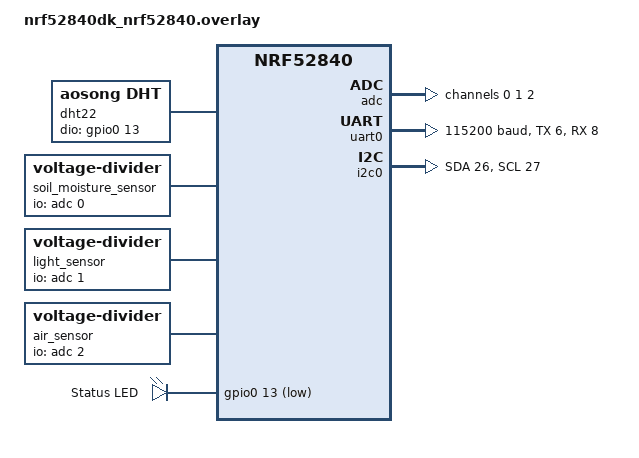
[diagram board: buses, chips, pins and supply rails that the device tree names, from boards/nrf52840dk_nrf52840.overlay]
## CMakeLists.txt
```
cmake_minimum_required(VERSION 3.20.0)

find_package(Zephyr REQUIRED HINTS $ENV{ZEPHYR_BASE})
project(grow)

# Platform-specific source files
if(CONFIG_SOC_ESP32S3 OR CONFIG_SOC_ESP32C6)
  set(PLATFORM_DIR "platform/esp32")
elseif(CONFIG_SOC_NRF52840)
  set(PLATFORM_DIR "platform/nrf52")
else()
  message(FATAL_ERROR "Unsupported platform")
endif()

# Common sources
set(COMMON_SOURCES
  src/main.c
  src/ble.c
  src/storage.c
  src/serial_number.c
  src/common/ml_analysis.c
  src/common/habitat_data.c
  src/common/plant_analysis.c
)

# Platform-specific sources
set(PLATFORM_SOURCES
  src/${PLATFORM_DIR}/sensors.c
  src/${PLATFORM_DIR}/connectivity.c
  src/${PLATFORM_DIR}/tflite_platform.c
)

# Add TensorFlow Lite sources based on platform
if(CONFIG_SOC_ESP32S3 OR CONFIG_SOC_ESP32C6)
  list(APPEND PLATFORM_SOURCES src/${PLATFORM_DIR}/firebase.c)
endif()

# Include directories
zephyr_include_directories(
  src
  src/common
  src/${PLATFORM_DIR}
)

# Target sources
target_sources(app PRIVATE
  ${COMMON_SOURCES}
  ${PLATFORM_SOURCES}
)
```

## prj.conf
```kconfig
# General config
CONFIG_MAIN_STACK_SIZE=4096
CONFIG_HEAP_MEM_POOL_SIZE=4096
CONFIG_LOG=y
CONFIG_PRINTK=y

# GPIO
CONFIG_GPIO=y
CONFIG_ADC=y

# Network
CONFIG_NETWORKING=y
CONFIG_NET_IPV4=y
CONFIG_NET_TCP=y
CONFIG_NET_SOCKETS=y
CONFIG_NET_SOCKETS_POSIX_NAMES=y

# Flash storage
CONFIG_FLASH=y
CONFIG_FLASH_MAP=y
CONFIG_NVS=y
CONFIG_SETTINGS=y
CONFIG_SETTINGS_NVS=y

# Bluetooth
CONFIG_BT=y
CONFIG_BT_PERIPHERAL=y
CONFIG_BT_DEVICE_NAME="Grow"
CONFIG_BT_DEVICE_APPEARANCE=0
CONFIG_BT_MAX_CONN=1
CONFIG_BT_GATT_DYNAMIC_DB=y

# Sensors
CONFIG_SENSOR=y
CONFIG_DHT=y

# JSON
CONFIG_JSON_LIBRARY=y

# HTTP client for habitat data and Firebase
CONFIG_NET_SOCKETS_POSIX_NAMES=y
CONFIG_NET_HTTP=y
CONFIG_NET_HTTP_CLIENT=y

# Time
CONFIG_POSIX_TIMERS=y
CONFIG_DATE_TIME=y

# Entropy
CONFIG_ENTROPY_GENERATOR=y

# TensorFlow Lite Micro
CONFIG_TFLITE_MICRO=y
CONFIG_CPP=y

# Include platform-specific configuration
# This will be handled in CMake based on the target board
```

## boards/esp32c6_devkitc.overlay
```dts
/*
 * ESP32C6 DevKitC board overlay for Grow plant monitor
 */

/ {
    chosen {
        zephyr,console = &uart0;
        zephyr,shell-uart = &uart0;
        zephyr,sram = &sram0;
        zephyr,flash = &flash0;
    };
    
    /* DHT22 Sensor */
    dht22: dht22 {
        compatible = "aosong,dht";
        status = "okay";
        dio-gpios = <&gpio0 21 GPIO_ACTIVE_HIGH>;
        dht22;
    };
    
    /* Soil Moisture Sensor */
    soil_moisture_sensor: soil_moisture_sensor {
        compatible = "voltage-divider";
        io-channels = <&adc1 0>;
        status = "okay";
    };
    
    /* Light Sensor */
    light_sensor: light_sensor {
        compatible = "voltage-divider";
        io-channels = <&adc1 1>;
        status = "okay";
    };
    
    /* Air Movement Sensor */
    air_sensor: air_sensor {
        compatible = "voltage-divider";
        io-channels = <&adc1 2>;
        status = "okay";
    };
};

&wifi {
    status = "okay";
};

&uart0 {
    status = "okay";
    current-speed = <115200>;
};

&gpio0 {
    status = "okay";
};

&adc1 {
    status = "okay";
    #address-cells = <1>;
    #size-cells = <0>;
    
    /* Soil moisture ADC channel */
    channel@0 {
        reg = <0>;
        zephyr,gain = "ADC_GAIN_1";
        zephyr,reference = "ADC_REF_INTERNAL";
        zephyr,acquisition-time = <ADC_ACQ_TIME_DEFAULT>;
        zephyr,resolution = <12>;
    };
    
    /* Light level ADC channel */
    channel@1 {
        reg = <1>;
        zephyr,gain = "ADC_GAIN_1";
        zephyr,reference = "ADC_REF_INTERNAL";
        zephyr,acquisition-time = <ADC_ACQ_TIME_DEFAULT>;
        zephyr,resolution = <12>;
    };
    
    /* Air movement ADC channel */
    channel@2 {
        reg = <2>;
        zephyr,gain = "ADC_GAIN_1";
        zephyr,reference = "ADC_REF_INTERNAL";
        zephyr,acquisition-time = <ADC_ACQ_TIME_DEFAULT>;
        zephyr,resolution = <12>;
    };
};

/* Enable flash for storage */
&flash0 {
    status = "okay";
    partitions {
        compatible = "fixed-partitions";
        #address-cells = <1>;
        #size-cells = <1>;
        
        /* Storage partition for NVS */
        storage_partition: partition@1a0000 {
            label = "storage";
            reg = <0x1a0000 0x20000>;
        };
        
        /* Partition for TensorFlow Lite model */
        tflite_partition: partition@1c0000 {
            label = "tflite";
            reg = <0x1c0000 0x40000>;
        };
    };
};
```

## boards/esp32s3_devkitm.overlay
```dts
/*
 * ESP32S3 DevkitM board overlay for GrowSense
 */

/ {
    chosen {
        zephyr,console = &uart0;
        zephyr,shell-uart = &uart0;
        zephyr,sram = &sram0;
        zephyr,flash = &flash0;
    };
    
    /* DHT22 Sensor */
    dht22: dht22 {
        compatible = "aosong,dht";
        status = "okay";
        dio-gpios = <&gpio0 21 GPIO_ACTIVE_HIGH>;
        dht22;
    };
    
    /* Soil Moisture Sensor */
    soil_moisture_sensor: soil_moisture_sensor {
        compatible = "voltage-divider";
        io-channels = <&adc1 0>;
        status = "okay";
    };
    
    /* Light Sensor */
    light_sensor: light_sensor {
        compatible = "voltage-divider";
        io-channels = <&adc1 1>;
        status = "okay";
    };
    
    /* Air Movement Sensor */
    air_sensor: air_sensor {
        compatible = "voltage-divider";
        io-channels = <&adc1 2>;
        status = "okay";
    };
};

&wifi {
    status = "okay";
};

&uart0 {
    status = "okay";
    current-speed = <115200>;
};

&gpio0 {
    status = "okay";
};

&adc1 {
    status = "okay";
    #address-cells = <1>;
    #size-cells = <0>;
    
    /* Soil moisture ADC channel */
    channel@0 {
        reg = <0>;
        zephyr,gain = "ADC_GAIN_1";
        zephyr,reference = "ADC_REF_INTERNAL";
        zephyr,acquisition-time = <ADC_ACQ_TIME_DEFAULT>;
        zephyr,resolution = <12>;
    };
    
    /* Light level ADC channel */
    channel@1 {
        reg = <1>;
        zephyr,gain = "ADC_GAIN_1";
        zephyr,reference = "ADC_REF_INTERNAL";
        zephyr,acquisition-time = <ADC_ACQ_TIME_DEFAULT>;
        zephyr,resolution = <12>;
    };
    
    /* Air movement ADC channel */
    channel@2 {
        reg = <2>;
        zephyr,gain = "ADC_GAIN_1";
        zephyr,reference = "ADC_REF_INTERNAL";
        zephyr,acquisition-time = <ADC_ACQ_TIME_DEFAULT>;
        zephyr,resolution = <12>;
    };
};

/* Enable flash for storage */
&flash0 {
    status = "okay";
    partitions {
        compatible = "fixed-partitions";
        #address-cells = <1>;
        #size-cells = <1>;
        
        /* Storage partition for NVS */
        storage_partition: partition@1a0000 {
            label = "storage";
            reg = <0x1a0000 0x20000>;
        };
    };
};
```

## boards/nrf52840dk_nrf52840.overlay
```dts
/*
 * nRF52840 DK board overlay for Grow plant monitor
 */

/ {
    chosen {
        zephyr,console = &uart0;
        zephyr,shell-uart = &uart0;
        zephyr,sram = &sram0;
        zephyr,flash = &flash0;
        zephyr,code-partition = &slot0_partition;
    };
    
    /* DHT22 Sensor */
    dht22: dht22 {
        compatible = "aosong,dht";
        status = "okay";
        dio-gpios = <&gpio0 13 GPIO_ACTIVE_HIGH>;
        dht22;
    };
    
    /* Soil Moisture Sensor */
    soil_moisture_sensor: soil_moisture_sensor {
        compatible = "voltage-divider";
        io-channels = <&adc 0>;
        status = "okay";
    };
    
    /* Light Sensor */
    light_sensor: light_sensor {
        compatible = "voltage-divider";
        io-channels = <&adc 1>;
        status = "okay";
    };
    
    /* Air Movement Sensor */
    air_sensor: air_sensor {
        compatible = "voltage-divider";
        io-channels = <&adc 2>;
        status = "okay";
    };

    leds {
        compatible = "gpio-leds";
        status_led: led_0 {
            gpios = <&gpio0 13 GPIO_ACTIVE_LOW>;
            label = "Status LED";
        };
    };
};

&adc {
    status = "okay";
    #address-cells = <1>;
    #size-cells = <0>;
    
    /* Soil moisture ADC channel */
    channel@0 {
        reg = <0>;
        zephyr,gain = "ADC_GAIN_1_6";
        zephyr,reference = "ADC_REF_INTERNAL";
        zephyr,acquisition-time = <ADC_ACQ_TIME_DEFAULT>;
        zephyr,input-positive = <NRF_SAADC_AIN0>;
        zephyr,resolution = <12>;
    };
    
    /* Light level ADC channel */
    channel@1 {
        reg = <1>;
        zephyr,gain = "ADC_GAIN_1_6";
        zephyr,reference = "ADC_REF_INTERNAL";
        zephyr,acquisition-time = <ADC_ACQ_TIME_DEFAULT>;
        zephyr,input-positive = <NRF_SAADC_AIN1>;
        zephyr,resolution = <12>;
    };
    
    /* Air movement ADC channel */
    channel@2 {
        reg = <2>;
        zephyr,gain = "ADC_GAIN_1_6";
        zephyr,reference = "ADC_REF_INTERNAL";
        zephyr,acquisition-time = <ADC_ACQ_TIME_DEFAULT>;
        zephyr,input-positive = <NRF_SAADC_AIN2>;
        zephyr,resolution = <12>;
    };
};

&flash0 {
    partitions {
        compatible = "fixed-partitions";
        #address-cells = <1>;
        #size-cells = <1>;
        
        boot_partition: partition@0 {
            label = "mcuboot";
            reg = <0x00000000 0x00010000>;
        };
        slot0_partition: partition@10000 {
            label = "image-0";
            reg = <0x00010000 0x00080000>;
        };
        slot1_partition: partition@90000 {
            label = "image-1";
            reg = <0x00090000 0x00080000>;
        };
        storage_partition: partition@110000 {
            label = "storage";
            reg = <0x00110000 0x00008000>;
        };
        tflite_partition: partition@118000 {
            label = "tflite";
            reg = <0x00118000 0x00020000>;
        };
    };
};

&gpio0 {
    status = "okay";
};

&uart0 {
    status = "okay";
    current-speed = <115200>;
    tx-pin = <6>;
    rx-pin = <8>;
    rts-pin = <5>;
    cts-pin = <7>;
};

&i2c0 {
    compatible = "nordic,nrf-twi";
    status = "okay";
    sda-pin = <26>;
    scl-pin = <27>;
};
```

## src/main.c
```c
#include <zephyr/kernel.h>
#include <zephyr/logging/log.h>

#include "ble.h"
#include "sensors.h"
#include "connectivity.h"
#include "firebase.h"
#include "storage.h"
#include "serial_number.h"
#include "data_cache.h"
#include "button_handler.h"
#include "common/ml_analysis.h"
#include "common/habitat_data.h"
#include "common/plant_analysis.h"
#include "common/water_analysis.h"

LOG_MODULE_REGISTER(main, CONFIG_LOG_DEFAULT_LEVEL);

/* Sensor reading interval (60 seconds) */
#define SENSOR_READ_INTERVAL K_SECONDS(60)

/* Define work item for sensor reading */
static struct k_work_delayable sensor_work;

/* Device information structure */
struct device_info {
    char serial_number[33];
    char plant_name[64];
    char plant_variety[64];
    bool provisioned;
};

static struct device_info dev_info;

/* Sensor data structure */
struct sensor_data {
    float soil_moisture;
    float light_level;
    float temperature;
    float humidity;
    float air_movement;
    int64_t timestamp;
};

static struct sensor_data current_sensor_data;

/* ML analysis result */
static struct ml_analysis_result ml_result;

/* Forward declarations */
static void sensor_work_handler(struct k_work *work);

void main(void)
{
    int ret;
    
    LOG_INF("Grow plant monitor starting...");
    
    /* Initialize storage subsystem */
    ret = storage_init();
    if (ret < 0) {
        LOG_ERR("Failed to initialize storage: %d", ret);
        return;
    }
    
    /* Initialize serial number */
    ret = serial_number_init(dev_info.serial_number, sizeof(dev_info.serial_number));
    if (ret < 0) {
        LOG_ERR("Failed to initialize serial number: %d", ret);
        return;
    }
    LOG_INF("Device serial number: %s", dev_info.serial_number);
    
    /* Load device configuration */
    ret = storage_load_device_config(dev_info.plant_name, sizeof(dev_info.plant_name),
                                    dev_info.plant_variety, sizeof(dev_info.plant_variety),
                                    &dev_info.provisioned);
    
    /* Initialize sensors */
    ret = sensors_init();
    if (ret < 0) {
        LOG_ERR("Failed to initialize sensors: %d", ret);
        return;
    }
    
    /* Initialize connectivity */
    ret = connectivity_init();
    if (ret < 0) {
        LOG_ERR("Failed to initialize connectivity: %d", ret);
        return;
    }
    
    /* Initialize button handler */
    ret = button_handler_init();
    if (ret < 0) {
        LOG_ERR("Failed to initialize button handler: %d", ret);
    }
    
    /* Initialize data cache */
    ret = data_cache_init();
    if (ret < 0) {
        LOG_ERR("Failed to initialize data cache: %d", ret);
    }
    
    /* Load cached data if any */
    ret = data_cache_load(dev_info.serial_number);
    if (ret < 0) {
        LOG_WRN("Failed to load cached data: %d", ret);
    }
    
    /* Initialize water analysis */
    ret = water_analysis_init();
    if (ret < 0) {
        LOG_ERR("Failed to initialize water analysis: %d", ret);
    }
    
    /* Load water analysis data if any */
    ret = water_analysis_load(dev_info.serial_number);
    if (ret < 0) {
        LOG_WRN("Failed to load water analysis data: %d", ret);
    }
    
    /* Initialize plant analysis subsystem */
    ret = plant_analysis_init();
    if (ret < 0) {
        LOG_ERR("Failed to initialize plant analysis: %d", ret);
        return;
    }
    
    /* Initialize BLE for provisioning */
    ret = ble_init(&dev_info.provisioned);
    if (ret < 0) {
        LOG_ERR("Failed to initialize BLE: %d", ret);
        return;
    }
    
    /* Setup sensor work */
    k_work_init_delayable(&sensor_work, sensor_work_handler);
    
    /* If already provisioned, connect to WiFi */
    if (dev_info.provisioned) {
        LOG_INF("Device already provisioned, connecting to network...");
        ret = connectivity_connect();
        if (ret < 0) {
            LOG_ERR("Failed to connect to network: %d", ret);
        }
    } else {
        LOG_INF("Device not provisioned, waiting for BLE provisioning...");
    }
    
    /* Start sensor readings */
    k_work_schedule(&sensor_work, K_NO_WAIT);
    
    /* Main loop */
    while (1) {
        k_sleep(K_FOREVER);
    }
}

/* Handler for sensor readings */
static void sensor_work_handler(struct k_work *work)
{
    int ret;
    struct water_consumption_pattern water_pattern;
    char plant_status[32];
    char mismatch_str[64] = {0};
    
    /* Read sensor data */
    ret = sensors_read(&current_sensor_data.soil_moisture,
                      &current_sensor_data.light_level,
                      &current_sensor_data.temperature,
                      &current_sensor_data.humidity,
                      &current_sensor_data.air_movement);
    
    if (ret < 0) {
        LOG_ERR("Failed to read sensors: %d", ret);
    } else {
        LOG_INF("Sensor readings - Moisture: %.2f%%, Light: %.2f%%, Temp: %.2f°C, Humidity: %.2f%%, Air: %.2f",
               current_sensor_data.soil_moisture,
               current_sensor_data.light_level,
               current_sensor_data.temperature,
               current_sensor_data.humidity,
               current_sensor_data.air_movement);
        
        /* Get current timestamp */
        current_sensor_data.timestamp = k_uptime_get() / 1000;
        
        /* If device is provisioned, perform analysis and send data */
        if (dev_info.provisioned) {
            /* Perform plant analysis */
            ret = plant_analysis_process_reading(
                dev_info.serial_number,
                dev_info.plant_name,
                dev_info.plant_variety,
                current_sensor_data.soil_moisture,
                current_sensor_data.light_level,
                current_sensor_data.temperature,
                current_sensor_data.humidity,
                current_sensor_data.air_movement,
                &ml_result
            );
            
            if (ret < 0) {
                LOG_ERR("Failed to analyze plant health: %d", ret);
            } else {
                LOG_INF("Plant health: %d (Confidence: %.2f)",
                       ml_result.health_status, ml_result.confidence);
                
                /* Get mismatch and status strings */
                plant_analysis_get_mismatch_string(&ml_result, mismatch_str, sizeof(mismatch_str));
                plant_analysis_get_status_string(&ml_result, plant_status, sizeof(plant_status));
                
                /* Update water analysis with new moisture reading */
                water_analysis_add_reading(current_sensor_data.soil_moisture, 
                                         current_sensor_data.timestamp);
                
                /* Analyze water consumption pattern */
                water_analysis_predict_watering(&water_pattern, 
                                              current_sensor_data.soil_moisture, 
                                              30.0f);  /* 30% threshold for watering */
                
                /* Save water analysis data */
                water_analysis_save(dev_info.serial_number);
                
                /* If connected, send data to Firebase */
                if (connectivity_is_connected()) {
                    /* First, try to send any cached data */
                    int cache_count = data_cache_count();
                    if (cache_count > 0) {
                        LOG_INF("Sending %d cached readings to Firebase", cache_count);
                        bool all_sent = true;
                        
                        for (int i = 0; i < cache_count; i++) {
                            struct cached_sensor_reading cached_reading;
                            
                            ret = data_cache_get_reading(i, &cached_reading);
                            if (ret == 0) {
                                ret = firebase_send_sensor_data(
                                    dev_info.serial_number,
                                    cached_reading.soil_moisture,
                                    cached_reading.light_level,
                                    cached_reading.temperature,
                                    cached_reading.humidity,
                                    cached_reading.air_movement,
                                    cached_reading.timestamp,
                                    dev_info.plant_name,
                                    dev_info.plant_variety,
                                    cached_reading.health_status,
                                    cached_reading.env_mismatch,
                                    ml_result.recommendation,
                                    cached_reading.plant_status
                                );
                                
                                if (ret < 0) {
                                    LOG_ERR("Failed to send cached data to Firebase: %d", ret);
                                    all_sent = false;
                                    break;
                                }
                            }
                        }
                        
                        if (all_sent) {
                            /* Successfully sent all cached data */
                            data_cache_clear();
                            data_cache_save(dev_info.serial_number);
                            LOG_INF("All cached data sent and cache cleared");
                        }
                    }
                    
                    /* Send current data */
                    ret = firebase_send_sensor_data(
                        dev_info.serial_number,
                        current_sensor_data.soil_moisture,
                        current_sensor_data.light_level,
                        current_sensor_data.temperature,
                        current_sensor_data.humidity,
                        current_sensor_data.air_movement,
                        current_sensor_data.timestamp,
                        dev_info.plant_name,
                        dev_info.plant_variety,
                        ml_result.health_status,
                        mismatch_str,
                        ml_result.recommendation,
                        plant_status
                    );
                    
                    if (ret < 0) {
                        LOG_ERR("Failed to send data to Firebase: %d", ret);
                    }
                    
                    /* Send water prediction data if confidence is high enough */
                    if (water_pattern.prediction_confidence > 30.0f) {
                        ret = firebase_send_water_prediction(
                            dev_info.serial_number,
                            water_pattern.daily_consumption_rate,
                            water_pattern.next_watering_timestamp,
                            water_pattern.prediction_confidence
                        );
                        
                        if (ret < 0) {
                            LOG_ERR("Failed to send water prediction to Firebase: %d", ret);
                        } else {
                            LOG_INF("Water prediction sent: next watering in %.1f hours",
                                  (water_pattern.next_watering_timestamp - current_sensor_data.timestamp) / 3600.0f);
                        }
                    }
                } else {
                    /* Offline - cache the data */
                    LOG_INF("Device offline, caching sensor reading");
                    ret = data_cache_add_reading(
                        current_sensor_data.soil_moisture,
                        current_sensor_data.light_level,
                        current_sensor_data.temperature,
                        current_sensor_data.humidity,
                        current_sensor_data.air_movement,
                        current_sensor_data.timestamp,
                        ml_result.health_status,
                        mismatch_str,
                        plant_status
                    );
                    
                    if (ret < 0) {
                        LOG_ERR("Failed to cache sensor data: %d", ret);
                    } else {
                        /* Save cache to persistent storage */
                        data_cache_save(dev_info.serial_number);
                        LOG_INF("Sensor data cached successfully");
                    }
                }
            }
        }
    }
    
    /* Check for button press requests */
    if (button_reset_requested()) {
        LOG_INF("Processing soft reset request");
        button_clear_requests();
        sys_reboot(SYS_REBOOT_WARM);
    } else if (button_factory_reset_requested()) {
        LOG_INF("Processing factory reset request");
        button_clear_requests();
        
        /* Clear all data */
        storage_reset_device_config();
        
        /* Reboot */
        sys_reboot(SYS_REBOOT_COLD);
    }
    
    /* Schedule next sensor reading */
    k_work_schedule(&sensor_work, SENSOR_READ_INTERVAL);
}

/* Callback for connectivity status */
void connectivity_status_callback(bool connected)
{
    if (connected) {
        LOG_INF("Network connected");
        
        /* Initialize Firebase */
        int ret = firebase_init();
        if (ret < 0) {
            LOG_ERR("Failed to initialize Firebase: %d", ret);
        }
        
        /* Trigger immediate sensor reading to send data */
        k_work_reschedule(&sensor_work, K_NO_WAIT);
    } else {
        LOG_INF("Network disconnected");
    }
}

/* Callback for provisioning */
void provisioning_complete_callback(const char *wifi_ssid, const char *wifi_password,
                                   const char *plant_name, const char *plant_variety)
{
    LOG_INF("Provisioning complete - SSID: %s, Plant: %s, Variety: %s",
           wifi_ssid, plant_name, plant_variety);
    
    /* Save device configuration */
    int ret = storage_save_device_config(wifi_ssid, wifi_password, 
                                       plant_name, plant_variety);
    if (ret < 0) {
        LOG_ERR("Failed to save device configuration: %d", ret);
        return;
    }
    
    /* Update local info */
    strncpy(dev_info.plant_name, plant_name, sizeof(dev_info.plant_name) - 1);
    strncpy(dev_info.plant_variety, plant_variety, sizeof(dev_info.plant_variety) - 1);
    dev_info.provisioned = true;
    
    /* Connect to network */
    ret = connectivity_connect();
    if (ret < 0) {
        LOG_ERR("Failed to connect to network: %d", ret);
    }
}
```

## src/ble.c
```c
#include <zephyr/kernel.h>
#include <zephyr/bluetooth/bluetooth.h>
#include <zephyr/bluetooth/hci.h>
#include <zephyr/bluetooth/conn.h>
#include <zephyr/bluetooth/uuid.h>
#include <zephyr/bluetooth/gatt.h>
#include <zephyr/logging/log.h>
#include <stdbool.h>
#include <string.h>

#include "ble.h"
#include "serial_number.h"

LOG_MODULE_REGISTER(ble, CONFIG_LOG_DEFAULT_LEVEL);

/* Define UUIDs for our custom service and characteristics */
#define GROW_SERVICE_UUID \
    BT_UUID_128_ENCODE(0x12345678, 0x1234, 0x5678, 0x1234, 0x56789abcdef0)
    
#define WIFI_SSID_CHAR_UUID \
    BT_UUID_128_ENCODE(0x12345678, 0x1234, 0x5678, 0x1234, 0x56789abcdef1)
    
#define WIFI_PASSWORD_CHAR_UUID \
    BT_UUID_128_ENCODE(0x12345678, 0x1234, 0x5678, 0x1234, 0x56789abcdef2)
    
#define PLANT_NAME_CHAR_UUID \
    BT_UUID_128_ENCODE(0x12345678, 0x1234, 0x5678, 0x1234, 0x56789abcdef3)
    
#define PLANT_VARIETY_CHAR_UUID \
    BT_UUID_128_ENCODE(0x12345678, 0x1234, 0x5678, 0x1234, 0x56789abcdef4)
    
#define APPLY_CONFIG_CHAR_UUID \
    BT_UUID_128_ENCODE(0x12345678, 0x1234, 0x5678, 0x1234, 0x56789abcdef5)
    
#define DEVICE_INFO_CHAR_UUID \
    BT_UUID_128_ENCODE(0x12345678, 0x1234, 0x5678, 0x1234, 0x56789abcdef6)

/* Maximum length for each characteristic */
#define MAX_WIFI_SSID_LEN 32
#define MAX_WIFI_PASSWORD_LEN 64
#define MAX_PLANT_NAME_LEN 64
#define MAX_PLANT_VARIETY_LEN 64
#define MAX_DEVICE_INFO_LEN 128

/* Static buffers for characteristic data */
static char wifi_ssid[MAX_WIFI_SSID_LEN + 1];
static char wifi_password[MAX_WIFI_PASSWORD_LEN + 1];
static char plant_name[MAX_PLANT_NAME_LEN + 1];
static char plant_variety[MAX_PLANT_VARIETY_LEN + 1];
static char device_info[MAX_DEVICE_INFO_LEN + 1] = "GrowSense Plant Monitor";
static uint8_t apply_config_value;

/* Pointer to provisioning status */
static bool *device_provisioned;

/* Forward declaration of provisioning callback */
extern void provisioning_complete_callback(const char *wifi_ssid, const char *wifi_password,
                                          const char *plant_name, const char *plant_variety);

/* Static BLE connection */
static struct bt_conn *current_conn;
static bool ble_advertising = false;

/* Connection callbacks */
static void connected(struct bt_conn *conn, uint8_t err)
{
    if (err) {
        LOG_ERR("Connection failed (err %u)", err);
        return;
    }

    LOG_INF("Connected");
    current_conn = bt_conn_ref(conn);
    ble_advertising = false;
}

static void disconnected(struct bt_conn *conn, uint8_t reason)
{
    LOG_INF("Disconnected (reason %u)", reason);

    if (current_conn) {
        bt_conn_unref(current_conn);
        current_conn = NULL;
    }
}

static struct bt_conn_cb conn_callbacks = {
    .connected = connected,
    .disconnected = disconnected,
};

/* WIFI SSID characteristic write callback */
static ssize_t write_wifi_ssid(struct bt_conn *conn, const struct bt_gatt_attr *attr,
                               const void *buf, uint16_t len, uint16_t offset,
                               uint8_t flags)
{
    if (offset + len > MAX_WIFI_SSID_LEN) {
        return BT_GATT_ERR(BT_ATT_ERR_INVALID_OFFSET);
    }

    memcpy(wifi_ssid + offset, buf, len);
    wifi_ssid[offset + len] = '\0';

    LOG_INF("WIFI SSID set to: %s", wifi_ssid);

    return len;
}

/* WIFI Password characteristic write callback */
static ssize_t write_wifi_password(struct bt_conn *conn, const struct bt_gatt_attr *attr,
                                  const void *buf, uint16_t len, uint16_t offset,
                                  uint8_t flags)
{
    if (offset + len > MAX_WIFI_PASSWORD_LEN) {
        return BT_GATT_ERR(BT_ATT_ERR_INVALID_OFFSET);
    }

    memcpy(wifi_password + offset, buf, len);
    wifi_password[offset + len] = '\0';

    LOG_INF("WIFI Password set");

    return len;
}

/* Plant Name characteristic write callback */
static ssize_t write_plant_name(struct bt_conn *conn, const struct bt_gatt_attr *attr,
                               const void *buf, uint16_t len, uint16_t offset,
                               uint8_t flags)
{
    if (offset + len > MAX_PLANT_NAME_LEN) {
        return BT_GATT_ERR(BT_ATT_ERR_INVALID_OFFSET);
    }

    memcpy(plant_name + offset, buf, len);
    plant_name[offset + len] = '\0';

    LOG_INF("Plant Name set to: %s", plant_name);

    return len;
}

/* Plant Variety characteristic write callback */
static ssize_t write_plant_variety(struct bt_conn *conn, const struct bt_gatt_attr *attr,
                                  const void *buf, uint16_t len, uint16_t offset,
                                  uint8_t flags)
{
    if (offset + len > MAX_PLANT_VARIETY_LEN) {
        return BT_GATT_ERR(BT_ATT_ERR_INVALID_OFFSET);
    }

    memcpy(plant_variety + offset, buf, len);
    plant_variety[offset + len] = '\0';

    LOG_INF("Plant Variety set to: %s", plant_variety);

    return len;
}

/* Apply Config characteristic write callback */
static ssize_t write_apply_config(struct bt_conn *conn, const struct bt_gatt_attr *attr,
                                 const void *buf, uint16_t len, uint16_t offset,
                                 uint8_t flags)
{
    if (offset + len > sizeof(apply_config_value)) {
        return BT_GATT_ERR(BT_ATT_ERR_INVALID_OFFSET);
    }

    memcpy(&apply_config_value + offset, buf, len);

    LOG_INF("Apply Config triggered with value: %u", apply_config_value);

    if (apply_config_value == 1) {
        /* Validate configuration data */
        if (strlen(wifi_ssid) > 0 && strlen(wifi_password) > 0) {
            LOG_INF("Configuration valid, applying...");
            
            /* Update provisioning status */
            *device_provisioned = true;
            
            /* Call provisioning callback */
            provisioning_complete_callback(wifi_ssid, wifi_password, plant_name, plant_variety);
        } else {
            LOG_ERR("Invalid configuration, SSID and password are required");
        }
    }

    return len;
}

/* Device Info characteristic read callback */
static ssize_t read_device_info(struct bt_conn *conn, const struct bt_gatt_attr *attr,
                               void *buf, uint16_t len, uint16_t offset)
{
    char *value = attr->user_data;

    return bt_gatt_attr_read(conn, attr, buf, len, offset, value, strlen(value));
}

/* Define our GATT service */
BT_GATT_SERVICE_DEFINE(grow_svc,
    BT_GATT_PRIMARY_SERVICE(BT_UUID_DECLARE_128(GROW_SERVICE_UUID)),
    
    BT_GATT_CHARACTERISTIC(BT_UUID_DECLARE_128(DEVICE_INFO_CHAR_UUID),
                          BT_GATT_CHRC_READ,
                          BT_GATT_PERM_READ,
                          read_device_info, NULL, device_info),
                          
    BT_GATT_CHARACTERISTIC(BT_UUID_DECLARE_128(WIFI_SSID_CHAR_UUID),
                          BT_GATT_CHRC_WRITE,
                          BT_GATT_PERM_WRITE,
                          NULL, write_wifi_ssid, wifi_ssid),
                          
    BT_GATT_CHARACTERISTIC(BT_UUID_DECLARE_128(WIFI_PASSWORD_CHAR_UUID),
                          BT_GATT_CHRC_WRITE,
                          BT_GATT_PERM_WRITE,
                          NULL, write_wifi_password, wifi_password),
                          
    BT_GATT_CHARACTERISTIC(BT_UUID_DECLARE_128(PLANT_NAME_CHAR_UUID),
                          BT_GATT_CHRC_WRITE,
                          BT_GATT_PERM_WRITE,
                          NULL, write_plant_name, plant_name),
                          
    BT_GATT_CHARACTERISTIC(BT_UUID_DECLARE_128(PLANT_VARIETY_CHAR_UUID),
                          BT_GATT_CHRC_WRITE,
                          BT_GATT_PERM_WRITE,
                          NULL, write_plant_variety, plant_variety),
                          
    BT_GATT_CHARACTERISTIC(BT_UUID_DECLARE_128(APPLY_CONFIG_CHAR_UUID),
                          BT_GATT_CHRC_WRITE,
                          BT_GATT_PERM_WRITE,
                          NULL, write_apply_config, &apply_config_value),
);

/* Advertising data */
static const struct bt_data ad[] = {
    BT_DATA_BYTES(BT_DATA_FLAGS, (BT_LE_AD_GENERAL | BT_LE_AD_NO_BREDR)),
    BT_DATA_BYTES(BT_DATA_UUID128_ALL, GROW_SERVICE_UUID),
};

/* Scan response data */
static const struct bt_data sd[] = {
    BT_DATA(BT_DATA_NAME_COMPLETE, CONFIG_BT_DEVICE_NAME, sizeof(CONFIG_BT_DEVICE_NAME) - 1),
};

/**
 * @brief Initialize BLE subsystem
 *
 * @param provisioned Pointer to device provisioning state
 * @return 0 on success, negative errno on failure
 */
int ble_init(bool *provisioned)
{
    int err;
    
    if (!provisioned) {
        return -EINVAL;
    }
    
    device_provisioned = provisioned;
    
    /* Initialize Bluetooth */
    err = bt_enable(NULL);
    if (err) {
        LOG_ERR("Bluetooth init failed (err %d)", err);
        return err;
    }

    LOG_INF("Bluetooth initialized");
    
    /* Register connection callbacks */
    bt_conn_cb_register(&conn_callbacks);

    /* Set device name from serial number */
    char serial[33];
    err = serial_number_init(serial, sizeof(serial));
    if (err == 0) {
        snprintf(device_info, sizeof(device_info), "GrowSense %s", serial);
    }
    
    /* Start advertising only if not provisioned */
    if (!(*provisioned)) {
        err = bt_le_adv_start(BT_LE_ADV_CONN, ad, ARRAY_SIZE(ad), sd, ARRAY_SIZE(sd));
        if (err) {
            LOG_ERR("Advertising failed to start (err %d)", err);
            return err;
        }
        LOG_INF("Advertising started");
        ble_advertising = true;
    }

    return 0;
}

/**
 * @brief Restart BLE advertising for provisioning
 *
 * Called when device needs to be re-provisioned
 * 
 * @return 0 on success, negative errno on failure
 */
int ble_restart_advertising(void)
{
    int err;
    
    /* Stop advertising if already running */
    if (ble_advertising) {
        bt_le_adv_stop();
        ble_advertising = false;
    }
    
    /* Start advertising */
    err = bt_le_adv_start(BT_LE_ADV_CONN, ad, ARRAY_SIZE(ad), sd, ARRAY_SIZE(sd));
    if (err) {
        LOG_ERR("Advertising failed to restart (err %d)", err);
        return err;
    }
    
    LOG_INF("Re-provisioning mode - BLE advertising restarted");
    ble_advertising = true;
    
    return 0;
}
```

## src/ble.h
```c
#ifndef BLE_H
#define BLE_H

#include <stdbool.h>

/**
 * @brief Initialize BLE subsystem
 *
 * @param provisioned Pointer to device provisioning state
 * @return 0 on success, negative errno on failure
 */
int ble_init(bool *provisioned);

/**
 * @brief Restart BLE advertising for provisioning
 *
 * Called when device needs to be re-provisioned
 * 
 * @return 0 on success, negative errno on failure
 */
int ble_restart_advertising(void);

#endif /* BLE_H */
```

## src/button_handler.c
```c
#include <zephyr/kernel.h>
#include <zephyr/logging/log.h>
#include <zephyr/drivers/gpio.h>
#include <zephyr/drivers/led.h>

#include "button_handler.h"

LOG_MODULE_REGISTER(button_handler, CONFIG_LOG_DEFAULT_LEVEL);

/* Button configuration */
#define BTN1_NODE DT_ALIAS(sw0) /* Use your board's button definitions */
static const struct gpio_dt_spec btn1 = GPIO_DT_SPEC_GET(BTN1_NODE, gpios);

/* LED configuration */
#define LED1_NODE DT_ALIAS(led0) /* Use your board's LED definitions */
static const struct gpio_dt_spec led1 = GPIO_DT_SPEC_GET(LED1_NODE, gpios);

/* Button press types */
#define BUTTON_PRESS_SHORT 1    /* Quick press */
#define BUTTON_PRESS_LONG 2     /* Long press (5+ seconds) */

/* Button state tracking */
static int btn1_pressed_time = 0;
static int btn1_released_time = 0;
static int btn1_press_count = 0;
static int btn1_press_type = 0;

/* Button request flags */
static bool reset_requested = false;
static bool factory_reset_requested = false;

/* Work items for button handling */
static struct k_work_delayable button_work;
static struct k_work_delayable led_work;

/* Timer for tracking button press duration */
static struct k_timer button_timer;

/* Current LED state for blinking */
static bool led_state = false;
static int blink_count = 0;

/**
 * @brief Button interrupt callback
 */
static void button_cb(const struct device *dev, struct gpio_callback *cb, uint32_t pins)
{
    int val = gpio_pin_get_dt(&btn1);
    
    if (val) {
        /* Button pressed */
        btn1_pressed_time = k_uptime_get_32();
        
        /* Start timer for long press detection */
        k_timer_start(&button_timer, K_SECONDS(5), K_NO_WAIT);
    } else {
        /* Button released */
        btn1_released_time = k_uptime_get_32();
        int press_duration = btn1_released_time - btn1_pressed_time;
        
        /* Stop timer */
        k_timer_stop(&button_timer);
        
        if (press_duration < 1000) {
            /* Short press */
            btn1_press_count++;
            btn1_press_type = BUTTON_PRESS_SHORT;
            
            /* Schedule work to process multiple presses */
            k_work_schedule(&button_work, K_MSEC(500));
        }
        /* Long press is handled by timer */
    }
}

/**
 * @brief Button timer expiry (long press detected)
 */
static void button_timer_expiry(struct k_timer *timer)
{
    /* Long press detected */
    btn1_press_type = BUTTON_PRESS_LONG;
    
    /* Schedule work immediately */
    k_work_schedule(&button_work, K_NO_WAIT);
    
    /* Start LED blinking for visual feedback */
    blink_count = 0;
    k_work_schedule(&led_work, K_NO_WAIT);
}

/**
 * @brief LED work handler for blink pattern
 */
static void led_work_handler(struct k_work *work)
{
    /* Toggle LED */
    led_state = !led_state;
    gpio_pin_set_dt(&led1, led_state);
    
    /* Continue blinking if needed */
    if (blink_count < 4) { /* 2 full blinks (on-off-on-off) */
        blink_count++;
        k_work_schedule(&led_work, K_MSEC(250));
    } else {
        /* Turn off LED when done */
        gpio_pin_set_dt(&led1, 0);
    }
}

/**
 * @brief Button work handler
 */
static void button_work_handler(struct k_work *work)
{
    if (btn1_press_type == BUTTON_PRESS_SHORT) {
        if (btn1_press_count == 2) {
            /* Double press - request soft reset */
            LOG_INF("Double press detected - requesting soft reset");
            reset_requested = true;
        }
        
        /* Reset press count */
        btn1_press_count = 0;
    } else if (btn1_press_type == BUTTON_PRESS_LONG) {
        /* Long press - request factory reset */
        LOG_INF("Long press detected - requesting factory reset");
        factory_reset_requested = true;
    }
    
    /* Reset press type */
    btn1_press_type = 0;
}

/**
 * @brief Initialize button handler
 * 
 * @return 0 on success, negative errno on failure
 */
int button_handler_init(void)
{
    int ret;
    static struct gpio_callback btn_cb;
    
    /* Configure button */
    if (!device_is_ready(btn1.port)) {
        LOG_ERR("Button device not ready");
        return -ENODEV;
    }
    
    ret = gpio_pin_configure_dt(&btn1, GPIO_INPUT);
    if (ret < 0) {
        LOG_ERR("Failed to configure button: %d", ret);
        return ret;
    }
    
    ret = gpio_pin_interrupt_configure_dt(&btn1, GPIO_INT_EDGE_BOTH);
    if (ret < 0) {
        LOG_ERR("Failed to configure button interrupt: %d", ret);
        return ret;
    }
    
    gpio_init_callback(&btn_cb, button_cb, BIT(btn1.pin));
    gpio_add_callback(btn1.port, &btn_cb);
    
    /* Configure LED */
    if (!device_is_ready(led1.port)) {
        LOG_ERR("LED device not ready");
        return -ENODEV;
    }
    
    ret = gpio_pin_configure_dt(&led1, GPIO_OUTPUT);
    if (ret < 0) {
        LOG_ERR("Failed to configure LED: %d", ret);
        return ret;
    }
    
    /* Initialize work items */
    k_work_init_delayable(&button_work, button_work_handler);
    k_work_init_delayable(&led_work, led_work_handler);
    
    /* Initialize button timer */
    k_timer_init(&button_timer, button_timer_expiry, NULL);
    
    LOG_INF("Button handler initialized");
    return 0;
}

/**
 * @brief Check if a reset was requested via button
 * 
 * @return true if reset requested, false otherwise
 */
bool button_reset_requested(void)
{
    return reset_requested;
}

/**
 * @brief Check if a factory reset was requested via button
 * 
 * @return true if factory reset requested, false otherwise
 */
bool button_factory_reset_requested(void)
{
    return factory_reset_requested;
}

/**
 * @brief Clear button request flags
 */
void button_clear_requests(void)
{
    reset_requested = false;
    factory_reset_requested = false;
}
```

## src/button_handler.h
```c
#ifndef BUTTON_HANDLER_H
#define BUTTON_HANDLER_H

/**
 * @brief Initialize button handler
 * 
 * @return 0 on success, negative errno on failure
 */
int button_handler_init(void);

/**
 * @brief Check if a reset was requested via button
 * 
 * @return true if reset requested, false otherwise
 */
bool button_reset_requested(void);

/**
 * @brief Check if a factory reset was requested via button
 * 
 * @return true if factory reset requested, false otherwise
 */
bool button_factory_reset_requested(void);

/**
 * @brief Clear button request flags
 */
void button_clear_requests(void);

#endif /* BUTTON_HANDLER_H */
```

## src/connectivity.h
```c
#ifndef CONNECTIVITY_H
#define CONNECTIVITY_H

#include <stdbool.h>

/**
 * @brief Initialize connectivity subsystem
 *
 * @return 0 on success, negative errno on failure
 */
int connectivity_init(void);

/**
 * @brief Connect to network
 *
 * @return 0 on success, negative errno on failure
 */
int connectivity_connect(void);

/**
 * @brief Disconnect from network
 *
 * @return 0 on success, negative errno on failure
 */
int connectivity_disconnect(void);

/**
 * @brief Check if connected to network
 *
 * @return true if connected, false otherwise
 */
bool connectivity_is_connected(void);

/**
 * @brief Callback for connectivity status changes
 */
void connectivity_status_callback(bool connected);

#endif /* CONNECTIVITY_H */
```

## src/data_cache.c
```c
#include <zephyr/kernel.h>
#include <zephyr/logging/log.h>
#include <string.h>
#include <errno.h>

#include "data_cache.h"
#include "storage.h"

LOG_MODULE_REGISTER(data_cache, CONFIG_LOG_DEFAULT_LEVEL);

/* Cache storage */
static struct cached_sensor_reading cache[MAX_CACHED_ENTRIES];
static int cache_head = 0; /* Index for next write */
static int cache_count = 0; /* Number of valid entries */

/**
 * @brief Initialize data cache
 * 
 * @return 0 on success, negative errno on failure
 */
int data_cache_init(void)
{
    /* Clear cache */
    memset(cache, 0, sizeof(cache));
    cache_head = 0;
    cache_count = 0;
    
    LOG_INF("Data cache initialized");
    return 0;
}

/**
 * @brief Add sensor reading to cache
 * 
 * @param soil_moisture Soil moisture value
 * @param light_level Light level value
 * @param temperature Temperature value
 * @param humidity Humidity value
 * @param air_movement Air movement value
 * @param timestamp Timestamp of reading
 * @param health_status Health status value
 * @param env_mismatch Environmental mismatch flags
 * @param plant_status Plant status string
 * @return 0 on success, negative errno on failure
 */
int data_cache_add_reading(float soil_moisture,
                         float light_level,
                         float temperature,
                         float humidity,
                         float air_movement,
                         int64_t timestamp,
                         int health_status,
                         const char *env_mismatch,
                         const char *plant_status)
{
    /* Add to circular buffer */
    cache[cache_head].soil_moisture = soil_moisture;
    cache[cache_head].light_level = light_level;
    cache[cache_head].temperature = temperature;
    cache[cache_head].humidity = humidity;
    cache[cache_head].air_movement = air_movement;
    cache[cache_head].timestamp = timestamp;
    cache[cache_head].health_status = health_status;
    
    strncpy(cache[cache_head].env_mismatch, env_mismatch, sizeof(cache[cache_head].env_mismatch) - 1);
    cache[cache_head].env_mismatch[sizeof(cache[cache_head].env_mismatch) - 1] = '\0';
    
    strncpy(cache[cache_head].plant_status, plant_status, sizeof(cache[cache_head].plant_status) - 1);
    cache[cache_head].plant_status[sizeof(cache[cache_head].plant_status) - 1] = '\0';
    
    cache[cache_head].valid = true;
    
    /* Update head index */
    cache_head = (cache_head + 1) % MAX_CACHED_ENTRIES;
    
    /* Update count */
    if (cache_count < MAX_CACHED_ENTRIES) {
        cache_count++;
    }
    
    LOG_DBG("Added reading to cache (total: %d)", cache_count);
    return 0;
}

/**
 * @brief Get number of cached readings
 * 
 * @return Number of valid cached entries
 */
int data_cache_count(void)
{
    return cache_count;
}

/**
 * @brief Get a cached reading
 * 
 * @param index Index of the reading to get
 * @param reading_out Pointer to store the reading
 * @return 0 on success, negative errno on failure
 */
int data_cache_get_reading(int index, struct cached_sensor_reading *reading_out)
{
    if (!reading_out || index < 0 || index >= cache_count) {
        return -EINVAL;
    }
    
    /* Calculate actual index in circular buffer */
    int actual_index = 0;
    if (cache_count < MAX_CACHED_ENTRIES) {
        /* Buffer not full yet */
        actual_index = index;
    } else {
        /* Buffer full, calculate based on head position */
        actual_index = (cache_head + index) % MAX_CACHED_ENTRIES;
    }
    
    if (!cache[actual_index].valid) {
        return -ENOENT;
    }
    
    /* Copy data */
    memcpy(reading_out, &cache[actual_index], sizeof(struct cached_sensor_reading));
    
    return 0;
}

/**
 * @brief Clear cache after successful upload
 * 
 * @return 0 on success, negative errno on failure
 */
int data_cache_clear(void)
{
    memset(cache, 0, sizeof(cache));
    cache_head = 0;
    cache_count = 0;
    
    LOG_INF("Data cache cleared");
    return 0;
}

/**
 * @brief Save cache to storage
 * 
 * @param serial_number Device serial number
 * @return 0 on success, negative errno on failure
 */
int data_cache_save(const char *serial_number)
{
    char key[64];
    
    /* Save cache metadata */
    snprintf(key, sizeof(key), "cache/meta/%s", serial_number);
    struct {
        int head;
        int count;
    } meta = {
        .head = cache_head,
        .count = cache_count
    };
    
    int ret = storage_save_value(key, &meta, sizeof(meta));
    if (ret < 0) {
        LOG_ERR("Failed to save cache metadata: %d", ret);
        return ret;
    }
    
    /* Save cache data */
    snprintf(key, sizeof(key), "cache/data/%s", serial_number);
    ret = storage_save_value(key, cache, sizeof(cache));
    if (ret < 0) {
        LOG_ERR("Failed to save cache data: %d", ret);
        return ret;
    }
    
    LOG_INF("Data cache saved (%d entries)", cache_count);
    return 0;
}

/**
 * @brief Load cache from storage
 * 
 * @param serial_number Device serial number
 * @return 0 on success, negative errno on failure
 */
int data_cache_load(const char *serial_number)
{
    char key[64];
    
    /* Load cache metadata */
    snprintf(key, sizeof(key), "cache/meta/%s", serial_number);
    struct {
        int head;
        int count;
    } meta;
    
    size_t meta_size = sizeof(meta);
    int ret = storage_load_value(key, &meta, &meta_size);
    
    if (ret < 0) {
        if (ret == -ENOENT) {
            /* No cache data, initialize empty cache */
            LOG_INF("No saved cache data found");
            data_cache_init();
            return 0;
        }
        LOG_ERR("Failed to load cache metadata: %d", ret);
        return ret;
    }
    
    if (meta_size != sizeof(meta)) {
        LOG_ERR("Invalid cache metadata size");
        return -EINVAL;
    }
    
    /* Load cache data */
    snprintf(key, sizeof(key), "cache/data/%s", serial_number);
    size_t cache_size = sizeof(cache);
    ret = storage_load_value(key, cache, &cache_size);
    
    if (ret < 0) {
        LOG_ERR("Failed to load cache data: %d", ret);
        return ret;
    }
    
    if (cache_size != sizeof(cache)) {
        LOG_ERR("Invalid cache data size");
        return -EINVAL;
    }
    
    /* Set cache state */
    cache_head = meta.head;
    cache_count = meta.count;
    
    LOG_INF("Data cache loaded (%d entries)", cache_count);
    return 0;
}
```

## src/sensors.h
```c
#ifndef SENSORS_H
#define SENSORS_H

/**
 * @brief Initialize sensors
 *
 * @return 0 on success, negative errno on failure
 */
int sensors_init(void);

/**
 * @brief Read sensor values
 *
 * @param soil_moisture_out Pointer to store soil moisture value (0-100%)
 * @param light_level_out Pointer to store light level value (0-100%)
 * @param temperature_out Pointer to store temperature value (°C)
 * @param humidity_out Pointer to store humidity value (0-100%)
 * @param air_movement_out Pointer to store air movement value (relative value)
 * @return 0 on success, negative errno on failure
 */
int sensors_read(float *soil_moisture_out, float *light_level_out,
                float *temperature_out, float *humidity_out,
                float *air_movement_out);

#endif /* SENSORS_H */
```
